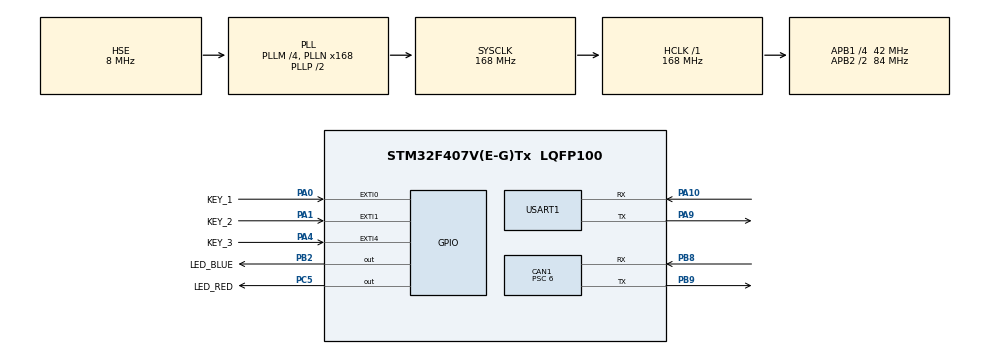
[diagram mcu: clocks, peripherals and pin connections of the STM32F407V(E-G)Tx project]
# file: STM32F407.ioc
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CAN1.ABOM=ENABLE
CAN1.BS1=CAN_BS1_4TQ
CAN1.BS2=CAN_BS2_2TQ
CAN1.CalculateBaudRate=1000000
CAN1.CalculateTimeBit=1000
CAN1.CalculateTimeQuantum=142.85714285714286
CAN1.Mode=CAN_MODE_NORMAL
CAN1.Prescaler=6
Mcu.Family=STM32F4
Mcu.Name=STM32F407V(E-G)Tx
Mcu.Package=LQFP100
NVIC.CAN1_RX0_IRQn=true\:0\:0\:false\:false\:true\:true\:true\:true
NVIC.EXTI0_IRQn=true\:0\:0\:false\:false\:true\:true\:true\:true
NVIC.EXTI1_IRQn=true\:0\:0\:false\:false\:true\:true\:true\:true
NVIC.EXTI4_IRQn=true\:0\:0\:false\:false\:true\:true\:true\:true
NVIC.PriorityGroup=NVIC_PRIORITYGROUP_4
PA0-WKUP.GPIO_Label=KEY_1
PA0-WKUP.GPIO_ModeDefaultEXTI=GPIO_MODE_IT_RISING
PA0-WKUP.GPIO_PuPd=GPIO_PULLDOWN
PA0-WKUP.Signal=GPXTI0
PA1.GPIO_Label=KEY_2
PA1.GPIO_ModeDefaultEXTI=GPIO_MODE_IT_FALLING
PA1.GPIO_PuPd=GPIO_PULLUP
PA1.Signal=GPXTI1
PA10.Mode=Asynchronous
PA10.Signal=USART1_RX
PA13.Mode=Serial_Wire
PA13.Signal=SYS_JTMS-SWDIO
PA14.Mode=Serial_Wire
PA14.Signal=SYS_JTCK-SWCLK
PA4.GPIO_Label=KEY_3
PA4.GPIO_ModeDefaultEXTI=GPIO_MODE_IT_FALLING
PA4.GPIO_PuPd=GPIO_PULLUP
PA4.Signal=GPXTI4
PA9.Mode=Asynchronous
PA9.Signal=USART1_TX
PB2.GPIO_Label=LED_BLUE
PB2.Signal=GPIO_Output
PB8.Mode=CAN_Activate
PB8.Signal=CAN1_RX
PB9.Mode=CAN_Activate
PB9.Signal=CAN1_TX
PC5.GPIO_Label=LED_RED
PC5.Signal=GPIO_Output
PH0-OSC_IN.Mode=HSE-External-Oscillator
PH0-OSC_IN.Signal=RCC_OSC_IN
PH1-OSC_OUT.Mode=HSE-External-Oscillator
PH1-OSC_OUT.Signal=RCC_OSC_OUT
ProjectManager.HeapSize=0x200
ProjectManager.StackSize=0x400
ProjectManager.TargetToolchain=MDK-ARM V5
RCC.48MHZClocksFreq_Value=84000000
RCC.AHBFreq_Value=168000000
RCC.APB1CLKDivider=RCC_HCLK_DIV4
RCC.APB1Freq_Value=42000000
RCC.APB1TimFreq_Value=84000000
RCC.APB2CLKDivider=RCC_HCLK_DIV2
RCC.APB2Freq_Value=84000000
RCC.APB2TimFreq_Value=168000000
RCC.CortexFreq_Value=168000000
RCC.HCLKFreq_Value=168000000
RCC.HSE_VALUE=8000000
RCC.HSI_VALUE=16000000
RCC.LSE_VALUE=32768
RCC.PLLM=4
RCC.PLLN=168
RCC.PLLSourceVirtual=RCC_PLLSOURCE_HSE
RCC.SYSCLKFreq_VALUE=168000000
RCC.SYSCLKSource=RCC_SYSCLKSOURCE_PLLCLK
RCC.VCOOutputFreq_Value=336000000
USART1.VirtualMode=VM_ASYNC
board=custom

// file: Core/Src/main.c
/* USER CODE BEGIN Header */
/***********************************************************************************************************************************
 ** 【代码编写】  魔女开发板团队
 ** 【淘    宝】  魔女开发板       https://demoboard.taobao.com
 ***********************************************************************************************************************************
 ** 【实验名称】  CAN1通信_500Kbps
 **
 ** 【适用平台】  STM32F407 + keil5 + HAL库
 **
 ** 【 CubeMX 】  1- 使用CubeMX开启CAN，
 **               2- 在CAN1的参数页面，配置波特率为500Kbps: Prescaler-6、BS1-4、BS2-2、SJW-1; 工作模式Operating Mode: Normal;
 **               3- 在CAN1的中断页面，打勾中断：CAN1 RX0 interrupts
 **               4- CAN1开启后，默认引脚为PA11+PA12, 修改为PB8_RX、PB9_TX
 **
 ** 【bsp_CAN】   CubeMX配置CAN1并重新生成后，会生成can.c和can.h，并在main.c中调用了MX_CAN1_Init(), 对其所用引脚、CAN配置，都进行了初始化。
 **               用户需要在CubeMX生成的代码基础上，自行增加编写发送、接收的处理代码。
 **               我们把上述CAN通信的自定义代码，写在了自行新建的bsp_CAN.h和bsp_CAN.c文件中; 这样处理，好处有二：
 **               1- 使代码更直观: 底层配置代码原封不动在can.c和h中, 而应用代码则在bsp_CAN.c和h里;
 **               2- 如果后续的工程，CubeMX没有使能CAN，重新生成后会删掉can.c和h文件，如果把自定义通信代码写在其中，也会随文件被删除，不利于代码日后再次使用;
 **
 ** 【移植说明】  1- 复制本工程的CAN文件夹，到目标工程文件夹中;
 **               2- 添加头文件路径： Keil > Option > C/C++ > Include Paths;
 **               3- 添加C文件到工程: Keil > 左侧工程管理器中双击目标文件夹 > 选择 bsp_CAN.c;
 **               4- 添加文件引用:    #include "bsp_CAN.h＂，即哪个文件中需要使用其函数功能，就在其代码文件顶部添加引用;
 **
 ** 【代码使用】  1- 初始化的代码: CubeMX已生成好了，我们无需修改、增删;
 **               2- 筛选器的配置: 在bsp_CAN.c中，已写了一个示例函数，调用即可：接收所有数据帧，包括标准帧和扩展帧
 **               3- 代码开启CAN1: 调用HAL函数 HAL_CAN_Start(&hcan1) ，本函数已在上述自定义的筛选器函数中调用;
 **               4- 发送，已写好一个自定义的发送函数，在函数中配置报文格式，需要发送时数据，调用函数传入数据即可, 可按需修改;
 **               5- 接收，已写好自定义的中断接收回调函数，在bsp_CAN.c中。在接收到新帧后，数据自动转存到xCAN1结构体，外部只需检查xCAN1.RXNum > 0，表示已接收到新数据，使用方法详见main.c中使用示范。
 **               6- 筛选器的配置，是CAN通信中比较难理解的关键点！列表模式、屏蔽模式，刨十来篇网上筛选器配置的文章，必须理解透彻。
 **
 ** 【划 重 点】  CAN1有两组引脚，默认的PA11+PA12、PB8+PB9, 注意不要选错了;
 **               很多人在意波特率的计算理解。新手不用太在意其公式和原理，直接上csdn搜文章、抄参数即可。来来去去都是那几个常用波特率了，没必要费时间。
 **               关于发送，很多教程会讲解发送邮箱的使用，新手们，写好帧格式，直接调用发送函数好了，先完成再完善吧，
 **               关于接收，同上，很多教程会花大量的时间讲解两组三级深度FIFO的原理, 新手们，只管在筛选器中决定用哪个FIFO, 收到数据后迅速处理即可。
 **               筛选器的灵活配置，才是CAN通信学习中的重中之重，比较难理解，建议多刨csdn文章，必须要理解透彻！
 **               关于错误帧、自动离线处理、离线唤醒等，这方面文章比较少。当你项目中需要深度使用CAN时，就需要刨寄存器部分描述了，才能有更深理解。
 **
 *******************************************************************************/
/* USER CODE END Header */
#include "main.h"
#include "can.h"
#include "usart.h"
#include "gpio.h"

/* USER CODE BEGIN Includes */
/* 用户代码，必须写在配对的BEGIN与END之间，否则CubeMX重新生成后，会被删除掉 */

#include "stdio.h"               // 用于sprintf等函数
#include "bsp_UART.h"            // 串口底层文件; 已重写好初始化、收发，调用函数即可使用串口
#include "bsp_CAN.h"             // CAN通信的自定义文件，包插：发送函数、筛选器配置、中断回调函数
#include "cybergear.h"

/* USER CODE END Includes */

void SystemClock_Config(void);

int main(void)
{

  /* MCU Configuration--------------------------------------------------------*/

  /* Reset of all peripherals, Initializes the Flash interface and the Systick. */
  HAL_Init();

  /* Configure the system clock */
  SystemClock_Config();

  /* Initialize all configured peripherals */
  MX_GPIO_Init();
  MX_USART1_UART_Init();
  MX_CAN1_Init();
  /* USER CODE BEGIN 2 */
    /* 用户代码，必须写在配对的BEGIN与END之间 */

    HAL_GPIO_WritePin(LED_RED_GPIO_Port, LED_RED_Pin, GPIO_PIN_RESET);       // 引脚置高电平，红亮灭

    UART1_Init(115200);                                                    // 初始化 串口1; 已写好底层，调用h中的函数即可使用; 引脚(PA9 +PA10)、波特率-None-8-1; 如果使用CubeMX配置，请使用前述引脚，但，不要在MX上进行中断及DMA配置，否则冲突

    can_bsp_init();
		// CAN1_FilterInit();                                                     // 初始化CAN1的筛选器; 为方便调试，本函数配置为：接收所有数据帧，包括标准帧、扩展帧
  /* USER CODE END 2 */

  /* Infinite loop */
  /* USER CODE BEGIN WHILE */

	HAL_Delay(1000);
	// init_cybergear(&mi_motor[1], 0x01, Motion_mode);//小米电机 运控模式
	init_cybergear(&mi_motor[1], 0x01, Position_mode);//小米电机 位置模式
	// init_cybergear(&mi_motor[1], 0x01, Speed_mode);//小米电机 速度模式
	// init_cybergear(&mi_motor[1], 0x01, Current_mode);//小米电机 电流模式

    while (1)
    {
    /* USER CODE END WHILE */

    /* USER CODE BEGIN 3 */

			/*运控模式*/
			//motor_controlmode(&mi_motor[1], 0, 1.5, 1, 5, 0.5);
			//HAL_Delay(300);
			//motor_controlmode(&mi_motor[1], 0, 0, 1, 5, 0.5);
			//HAL_Delay(1000);

			/*位置模式*/
			set_position_cybergear(&mi_motor[1], 10.0, 5, 8, 40);
			HAL_Delay(3000);
			set_position_cybergear(&mi_motor[1], -10.0, 5, 8, 40);
			HAL_Delay(3000);

			/*速度模式*/
			//set_speed_cybergear(&mi_motor[1], 2.0);
			//HAL_Delay(500);
			//set_speed_cybergear(&mi_motor[1], -2.0);
			//HAL_Delay(500);

			/*电流模式*/
			//set_current_cybergear(&mi_motor[1], 0.4);
			//HAL_Delay(6000);
			//set_current_cybergear(&mi_motor[1], -0.4);
			//HAL_Delay(6000);
		}

  /* USER CODE END 3 */
}

void SystemClock_Config(void)
{
  RCC_OscInitTypeDef RCC_OscInitStruct = {0};
  RCC_ClkInitTypeDef RCC_ClkInitStruct = {0};

  /** Configure the main internal regulator output voltage
  */
  __HAL_RCC_PWR_CLK_ENABLE();
  __HAL_PWR_VOLTAGESCALING_CONFIG(PWR_REGULATOR_VOLTAGE_SCALE1);

  /** Initializes the RCC Oscillators according to the specified parameters
  * in the RCC_OscInitTypeDef structure.
  */
  RCC_OscInitStruct.OscillatorType = RCC_OSCILLATORTYPE_HSE;
  RCC_OscInitStruct.HSEState = RCC_HSE_ON;
  RCC_OscInitStruct.PLL.PLLState = RCC_PLL_ON;
  RCC_OscInitStruct.PLL.PLLSource = RCC_PLLSOURCE_HSE;
  RCC_OscInitStruct.PLL.PLLM = 4;
  RCC_OscInitStruct.PLL.PLLN = 168;
  RCC_OscInitStruct.PLL.PLLP = RCC_PLLP_DIV2;
  RCC_OscInitStruct.PLL.PLLQ = 4;
  if (HAL_RCC_OscConfig(&RCC_OscInitStruct) != HAL_OK)
  {
    Error_Handler();
  }

  /** Initializes the CPU, AHB and APB buses clocks
  */
  RCC_ClkInitStruct.ClockType = RCC_CLOCKTYPE_HCLK|RCC_CLOCKTYPE_SYSCLK
                              |RCC_CLOCKTYPE_PCLK1|RCC_CLOCKTYPE_PCLK2;
  RCC_ClkInitStruct.SYSCLKSource = RCC_SYSCLKSOURCE_PLLCLK;
  RCC_ClkInitStruct.AHBCLKDivider = RCC_SYSCLK_DIV1;
  RCC_ClkInitStruct.APB1CLKDivider = RCC_HCLK_DIV4;
  RCC_ClkInitStruct.APB2CLKDivider = RCC_HCLK_DIV2;

  if (HAL_RCC_ClockConfig(&RCC_ClkInitStruct, FLASH_LATENCY_5) != HAL_OK)
  {
    Error_Handler();
  }
}

/* USER CODE BEGIN 4 */
/* 所有用户代码，必须写在配对的BEGIN与END之间 */

/******************************************************************************
 * 函  数： HAL_GPIO_EXTI_Callback
 * 功  能： EXTI中断回调函数
 * 参  数： uint16_t  GPIO_Pin    引脚编号，参数范围：GPIO_Pin_0 ~ GPIO_Pin_15
 * 返回值： 无
 * 备  注： CubeMX生成的代码在思维和风格上，与使用标准库编写时有很大的区别：
 *          1：这个是回调函数，不是中断服务函数。完整的调用：EXTIx_IRQHandler() > HAL_GPIO_EXTI_IRQHandler(GPIO_PIN_x) > HAL_GPIO_EXTI_Callback(GPIO_PIN_x)
 *          2：必须使用这个函数名称，因为它在CubeMX生成时，已被写好了各种函数调用、函数弱定义(在stm32xx_hal_gpio.c的底部); 不建议在原弱定义中增添代码，而是重写本函数
 *          3：中断条件触发后，本函数被自动调用，无需进行人工调用; 也无需进行中断标志的清理，因为HAL_GPIO_EXTI_IRQHandler()函数中已有操作;
 *          4：生成的所有EXTI中断服务函数，都统一调用这个函数，以引脚编号作参数
 *          5：判断参数传进来的引脚编号，即可知道是哪个外部中断线产生的中断信号
******************************************************************************/
void HAL_GPIO_EXTI_Callback(uint16_t GPIO_Pin)
{
    if (GPIO_Pin == KEY_1_Pin)                                  // 按键1 产生的中断信号：KEY_1、PA0、闲时下拉、按下时高电平、上升沿触发
    {
        HAL_GPIO_TogglePin(LED_RED_GPIO_Port, LED_RED_Pin);     // 反转红色LED灯
        printf("KEY_1 按下\r");                                 // 通过串口助手输出提示
    }

    if (GPIO_Pin == KEY_2_Pin)                                  // 按键2 产生的中断信号：KEY_2、PA1、闲时上拉、按下时低电平、下降沿触发
    {
        HAL_GPIO_TogglePin(LED_RED_GPIO_Port, LED_RED_Pin);     // 反转红色LED灯
        printf("KEY_2 按下\r");                                 // 通过串口助手输出提示
    }

    if (GPIO_Pin == KEY_3_Pin)                                  // 按键3 产生的中断信号：KEY_3、PA4、闲时上拉、按下低高电平、下降沿触发
    {
        HAL_GPIO_TogglePin(LED_RED_GPIO_Port, LED_RED_Pin);     // 反转红色LED灯
        printf("KEY_3 按下\r");                                 // 通过串口助手输出提示
    }

}

/* USER CODE END 4 */

void Error_Handler(void)
{
    __disable_irq();
    while (1)
    {
    }
}
